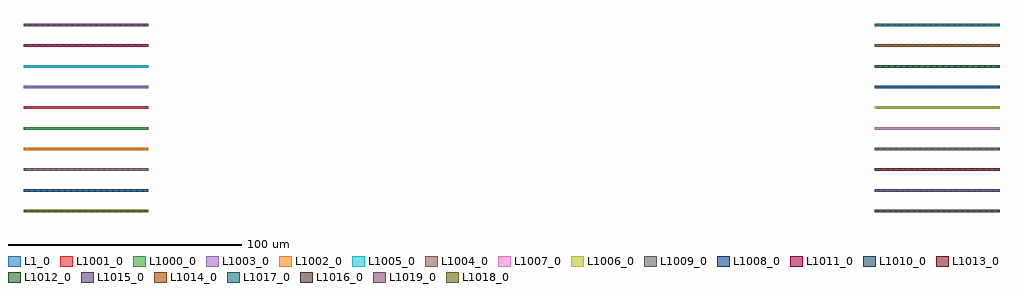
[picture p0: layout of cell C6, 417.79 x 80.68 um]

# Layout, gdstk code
from math import pi, radians
import gdstk
lib = gdstk.Library(unit=1e-6, precision=5e-10)
def R(c, l, rs):  # rectangles x0, y0, x1, y1
    for r in rs: c.add(gdstk.rectangle(r[:2], r[2:], *l))
def A(c, l, x, y, w, h, nx, ny, dx, dy):  # array of equal rectangles
    R(c, l, [(x+i*dx, y+j*dy, x+i*dx+w, y+j*dy+h) for i in range(nx) for j in range(ny)])
L1_0 = (1, 0)
L1000_0 = (1000, 0)
L1001_0 = (1001, 0)
L1002_0 = (1002, 0)
L1003_0 = (1003, 0)
L1004_0 = (1004, 0)
L1005_0 = (1005, 0)
L1006_0 = (1006, 0)
L1007_0 = (1007, 0)
L1008_0 = (1008, 0)
L1009_0 = (1009, 0)
L1010_0 = (1010, 0)
L1011_0 = (1011, 0)
L1012_0 = (1012, 0)
L1013_0 = (1013, 0)
L1014_0 = (1014, 0)
L1015_0 = (1015, 0)
L1016_0 = (1016, 0)
L1017_0 = (1017, 0)
L1018_0 = (1018, 0)
L1019_0 = (1019, 0)

c_c1 = lib.new_cell('C1')
A(c_c1, L1_0, -3.904, -9.369, 13.707, 1.041, 1, 3, 0, 8.8485)

c_c2 = lib.new_cell('C2')
A(c_c2, L1_0, -3.6435, 3.904, 53.438, 1.041, 1, 8, 0, 8.8485)
r = gdstk.Reference(c_c1, (18.738,39.8185), rotation=pi); r.repetition = gdstk.Repetition(2, 2, v1=(-4.858,0), v2=(0,-8.8485)); c_c2.add(r)

c_c4 = lib.new_cell('C4')
R(c_c4, L1016_0, [(267.19,86.403,320.628,87.444)])
R(c_c4, L1017_0, [(267.19,6.7665,320.628,7.8075)])
r = gdstk.Reference(c_c2, (270.8335,91.348), x_reflection=True); r.repetition = gdstk.Repetition(1, 3, v1=(0,0), v2=(0,-8.8485)); c_c4.add(r)

c_c6 = lib.new_cell('C6')
R(c_c6, L1000_0, [(267.19,48.1465,320.628,49.1875), (267.19,48.1465,320.628,49.1875), (267.19,48.1465,320.628,49.1875), (267.19,48.1465,320.628,49.1875), (267.19,48.1465,320.628,49.1875), (267.19,48.1465,320.628,49.1875), (274.9105,48.1465,288.6175,49.1875), (274.9105,48.1465,288.6175,49.1875), (274.9105,48.1465,288.6175,49.1875), (274.9105,48.1465,288.6175,49.1875), (274.9105,48.1465,288.6175,49.1875), (274.9105,48.1465,288.6175,49.1875), (274.9105,48.1465,288.6175,49.1875), (274.9105,48.1465,288.6175,49.1875), (274.9105,48.1465,288.6175,49.1875), (274.9105,48.1465,288.6175,49.1875), (279.7685,48.1465,293.4755,49.1875), (279.7685,48.1465,293.4755,49.1875), (279.7685,48.1465,293.4755,49.1875), (279.7685,48.1465,293.4755,49.1875), (279.7685,48.1465,293.4755,49.1875), (279.7685,48.1465,293.4755,49.1875), (279.7685,48.1465,293.4755,49.1875), (279.7685,48.1465,293.4755,49.1875), (279.7685,48.1465,293.4755,49.1875), (279.7685,48.1465,293.4755,49.1875)])
R(c_c6, L1001_0, [(267.19,56.995,320.628,58.036), (267.19,56.995,320.628,58.036), (267.19,56.995,320.628,58.036), (267.19,56.995,320.628,58.036), (267.19,56.995,320.628,58.036), (267.19,56.995,320.628,58.036), (274.9105,56.995,288.6175,58.036), (274.9105,56.995,288.6175,58.036), (274.9105,56.995,288.6175,58.036), (274.9105,56.995,288.6175,58.036), (274.9105,56.995,288.6175,58.036), (274.9105,56.995,288.6175,58.036), (274.9105,56.995,288.6175,58.036), (274.9105,56.995,288.6175,58.036), (274.9105,56.995,288.6175,58.036), (274.9105,56.995,288.6175,58.036), (279.7685,56.995,293.4755,58.036), (279.7685,56.995,293.4755,58.036), (279.7685,56.995,293.4755,58.036), (279.7685,56.995,293.4755,58.036), (279.7685,56.995,293.4755,58.036), (279.7685,56.995,293.4755,58.036), (279.7685,56.995,293.4755,58.036), (279.7685,56.995,293.4755,58.036), (279.7685,56.995,293.4755,58.036), (279.7685,56.995,293.4755,58.036)])
R(c_c6, L1002_0, [(267.19,39.298,320.628,40.339), (267.19,39.298,320.628,40.339), (267.19,39.298,320.628,40.339), (267.19,39.298,320.628,40.339), (267.19,39.298,320.628,40.339), (267.19,39.298,320.628,40.339), (274.9105,39.298,288.6175,40.339), (274.9105,39.298,288.6175,40.339), (274.9105,39.298,288.6175,40.339), (274.9105,39.298,288.6175,40.339), (274.9105,39.298,288.6175,40.339), (274.9105,39.298,288.6175,40.339), (279.7685,39.298,293.4755,40.339), (279.7685,39.298,293.4755,40.339), (279.7685,39.298,293.4755,40.339), (279.7685,39.298,293.4755,40.339), (279.7685,39.298,293.4755,40.339), (279.7685,39.298,293.4755,40.339)])
R(c_c6, L1003_0, [(267.19,65.8435,320.628,66.8845), (267.19,65.8435,320.628,66.8845), (267.19,65.8435,320.628,66.8845), (267.19,65.8435,320.628,66.8845), (267.19,65.8435,320.628,66.8845), (267.19,65.8435,320.628,66.8845), (274.9105,65.8435,288.6175,66.8845), (274.9105,65.8435,288.6175,66.8845), (274.9105,65.8435,288.6175,66.8845), (274.9105,65.8435,288.6175,66.8845), (274.9105,65.8435,288.6175,66.8845), (274.9105,65.8435,288.6175,66.8845), (279.7685,65.8435,293.4755,66.8845), (279.7685,65.8435,293.4755,66.8845), (279.7685,65.8435,293.4755,66.8845), (279.7685,65.8435,293.4755,66.8845), (279.7685,65.8435,293.4755,66.8845), (279.7685,65.8435,293.4755,66.8845)])
R(c_c6, L1004_0, [(267.19,30.4495,320.628,31.4905), (267.19,30.4495,320.628,31.4905), (267.19,30.4495,320.628,31.4905), (267.19,30.4495,320.628,31.4905), (267.19,30.4495,320.628,31.4905), (267.19,30.4495,320.628,31.4905), (274.9105,30.4495,288.6175,31.4905), (274.9105,30.4495,288.6175,31.4905), (279.7685,30.4495,293.4755,31.4905), (279.7685,30.4495,293.4755,31.4905)])
R(c_c6, L1005_0, [(267.19,74.692,320.628,75.733), (267.19,74.692,320.628,75.733), (267.19,74.692,320.628,75.733), (267.19,74.692,320.628,75.733), (267.19,74.692,320.628,75.733), (267.19,74.692,320.628,75.733), (274.9105,74.692,288.6175,75.733), (274.9105,74.692,288.6175,75.733), (279.7685,74.692,293.4755,75.733), (279.7685,74.692,293.4755,75.733)])
R(c_c6, L1006_0, [(631.54,56.995,684.978,58.036), (631.54,56.995,684.978,58.036), (631.54,56.995,684.978,58.036), (658.6925,56.995,672.3995,58.036), (658.6925,56.995,672.3995,58.036), (658.6925,56.995,672.3995,58.036), (658.6925,56.995,672.3995,58.036), (658.6925,56.995,672.3995,58.036), (663.5505,56.995,677.2575,58.036), (663.5505,56.995,677.2575,58.036), (663.5505,56.995,677.2575,58.036), (663.5505,56.995,677.2575,58.036), (663.5505,56.995,677.2575,58.036)])
R(c_c6, L1007_0, [(631.54,48.1465,684.978,49.1875), (631.54,48.1465,684.978,49.1875), (631.54,48.1465,684.978,49.1875), (658.6925,48.1465,672.3995,49.1875), (658.6925,48.1465,672.3995,49.1875), (658.6925,48.1465,672.3995,49.1875), (658.6925,48.1465,672.3995,49.1875), (658.6925,48.1465,672.3995,49.1875), (663.5505,48.1465,677.2575,49.1875), (663.5505,48.1465,677.2575,49.1875), (663.5505,48.1465,677.2575,49.1875), (663.5505,48.1465,677.2575,49.1875), (663.5505,48.1465,677.2575,49.1875)])
R(c_c6, L1008_0, [(631.54,65.8435,684.978,66.8845), (631.54,65.8435,684.978,66.8845), (631.54,65.8435,684.978,66.8845), (658.6925,65.8435,672.3995,66.8845), (658.6925,65.8435,672.3995,66.8845), (658.6925,65.8435,672.3995,66.8845), (663.5505,65.8435,677.2575,66.8845), (663.5505,65.8435,677.2575,66.8845), (663.5505,65.8435,677.2575,66.8845)])
R(c_c6, L1009_0, [(631.54,39.298,684.978,40.339), (631.54,39.298,684.978,40.339), (631.54,39.298,684.978,40.339), (658.6925,39.298,672.3995,40.339), (658.6925,39.298,672.3995,40.339), (658.6925,39.298,672.3995,40.339), (663.5505,39.298,677.2575,40.339), (663.5505,39.298,677.2575,40.339), (663.5505,39.298,677.2575,40.339)])
R(c_c6, L1010_0, [(267.19,21.601,320.628,22.642), (267.19,21.601,320.628,22.642), (267.19,21.601,320.628,22.642), (267.19,21.601,320.628,22.642)])
R(c_c6, L1011_0, [(267.19,83.5405,320.628,84.5815), (267.19,83.5405,320.628,84.5815), (267.19,83.5405,320.628,84.5815), (267.19,83.5405,320.628,84.5815)])
R(c_c6, L1012_0, [(631.54,74.692,684.978,75.733), (631.54,74.692,684.978,75.733), (631.54,74.692,684.978,75.733), (658.6925,74.692,672.3995,75.733), (663.5505,74.692,677.2575,75.733)])
R(c_c6, L1013_0, [(631.54,30.4495,684.978,31.4905), (631.54,30.4495,684.978,31.4905), (631.54,30.4495,684.978,31.4905), (658.6925,30.4495,672.3995,31.4905), (663.5505,30.4495,677.2575,31.4905)])
R(c_c6, L1014_0, [(631.54,83.5405,684.978,84.5815), (631.54,83.5405,684.978,84.5815)])
R(c_c6, L1015_0, [(631.54,21.601,684.978,22.642), (631.54,21.601,684.978,22.642)])
R(c_c6, L1018_0, [(267.19,12.7525,320.628,13.7935)])
R(c_c6, L1019_0, [(267.19,92.389,320.628,93.43)])
c_c6.add(gdstk.Reference(c_c4, (0,100.1965), x_reflection=True))
c_c6.add(gdstk.Reference(c_c4, (952.168,100.1965), rotation=pi))
r = gdstk.Reference(c_c2, (270.8335,8.8485)); r.repetition = gdstk.Repetition(1, 3, v1=(0,0), v2=(0,8.8485)); c_c6.add(r)

lib.write_gds('C6.gds')
